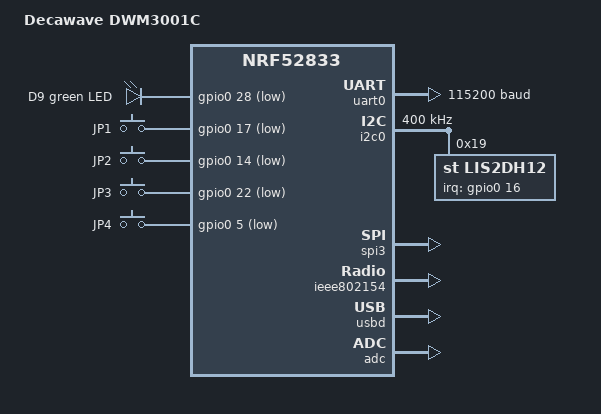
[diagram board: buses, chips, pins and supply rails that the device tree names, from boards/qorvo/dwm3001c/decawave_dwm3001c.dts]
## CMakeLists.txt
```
# SPDX-License-Identifier: Apache-2.0

cmake_minimum_required(VERSION 3.20.0)
find_package(Zephyr REQUIRED HINTS $ENV{ZEPHYR_BASE})
project(test_dwm3001c)

target_sources_ifdef(CONFIG_PDEC_SPI_POLLING app PRIVATE src/pdec_spi_polling.c)

# Replace the hardware/IRQ and SPI platform ports; keep the vendor device driver.
# The radio thread owns ISR dispatch and the contiguous SPI DMA buffers.
set(dw3000_module_dir "${ZEPHYR_ZEPHYR_DW3000_DECADRIVER_MODULE_DIR}")
set_source_files_properties(
    "${dw3000_module_dir}/platform/dw3000_hw.c"
    "${dw3000_module_dir}/platform/dw3000_spi.c"
    DIRECTORY "${dw3000_module_dir}"
    PROPERTIES HEADER_FILE_ONLY TRUE
)

target_sources(app PRIVATE
    src/app_print.c
    src/main.c
    src/pdec_common.c
    src/pdec_radio.c
    src/pdec_dw3000_hw.c
    src/pdec_dw3000_spi.c
    src/pdec_discovery.c
    src/pdec_initiator.c
    src/pdec_database.c
    src/pdec_ranging.c
    src/pdec_range_request.c
    src/pdec_tdoa.c
    src/uart_binary.c
    src/uart_protocol.c
    src/uart_shell.c

    src/ble.c
)
```

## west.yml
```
manifest:
  # lowest version of the manifest file schema that can parse this file’s data
  version: 0.8

  self:
    path: app

  projects:
    - name: zephyr
      revision: v4.3.0
      url: https://github.com/zephyrproject-rtos/zephyr
      import:
        path-prefix: deps
        file: west.yml
        name-allowlist:
          - hal_nordic
          - cmsis_6
          - nrfxlib

    - name: zephyr-dw3000-decadriver
      path: deps/zephyr-dw3000-decadriver
      url: https://github.com/br101/zephyr-dw3000-decadriver.git
      revision: 717751e248d5becf79838910c404b0193e8f88cc
```

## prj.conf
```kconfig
CONFIG_GPIO=y
CONFIG_TIMING_FUNCTIONS=y
CONFIG_DW3000=y
CONFIG_DW3000_CHIP_DW3000=y
CONFIG_SPI=y
CONFIG_GPIO=y
CONFIG_SERIAL=y
CONFIG_UART_INTERRUPT_DRIVEN=y
CONFIG_UART_LINE_CTRL=y

# USB virtual serial port, alongside the physical UART.
CONFIG_USB_DEVICE_STACK_NEXT=y
CONFIG_CDC_ACM_SERIAL_INITIALIZE_AT_BOOT=y
CONFIG_CDC_ACM_SERIAL_PRODUCT_STRING="PDEC serial"
CONFIG_USBD_CDC_ACM_WORKQUEUE=y
CONFIG_SHELL=y
CONFIG_SHELL_AUTOSTART=n
CONFIG_SHELL_BACKEND_SERIAL=n
CONFIG_CONSOLE=n
CONFIG_UART_CONSOLE=n
CONFIG_STDOUT_CONSOLE=n
CONFIG_PRINTK=n
CONFIG_LOG_PRINTK=n
CONFIG_BOOT_BANNER=n

#CONFIG_TEST_RANDOM_GENERATOR=y
CONFIG_ENTROPY_GENERATOR=y
CONFIG_NEWLIB_LIBC=y
CONFIG_SYSTEM_WORKQUEUE_STACK_SIZE=2048
CONFIG_PDEC_PRINT_RANGING=n
CONFIG_CBPRINTF_FP_SUPPORT=y


CONFIG_BT=y
CONFIG_BT_PERIPHERAL=y
CONFIG_BT_DEVICE_NAME="UWB_PP_0000"
CONFIG_BT_DEVICE_APPEARANCE=0
# CONFIG_BT_BROADCASTER=y

# GATT server
CONFIG_BT_GATT_DYNAMIC_DB=y

# Advertising
CONFIG_BT_DEVICE_NAME_DYNAMIC=n

# Optional but recommended
CONFIG_BT_MAX_CONN=4
CONFIG_BT_MAX_PAIRED=2

# Logging
CONFIG_LOG=y
```

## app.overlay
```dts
&spi3 {
    compatible = "pdec,nrf52833-spim3";
    status = "okay";
    dwm3001c@0 {
        compatible = "decawave,dw3000";
        spi-max-frequency = <32000000>;
        reg = <0>;
        irq-gpios     = <&gpio1 2 GPIO_ACTIVE_HIGH>;
        reset-gpios   = <&gpio0 25 GPIO_ACTIVE_LOW>;
    };
};

/* Keep zephyr,console on the physical UART. USB is a second protocol port. */
&zephyr_udc0 {
    status = "okay";
    pdec_usb_uart: pdec_usb_uart {
        compatible = "zephyr,cdc-acm-uart";
    };
};
```

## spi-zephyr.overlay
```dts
/* Optional comparison backend: restore Zephyr's interrupt-driven SPIM driver. */
&spi3 {
    compatible = "nordic,nrf-spim";
};
```

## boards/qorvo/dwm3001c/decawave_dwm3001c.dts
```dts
/*
 * Copyright (c) 2019 Stéphane D'Alu
 *
 * SPDX-License-Identifier: Apache-2.0
 */

/dts-v1/;
#include <nordic/nrf52833_qdaa.dtsi>
#include "decawave_dwm3001c-pinctrl.dtsi"
#include <zephyr/dt-bindings/input/input-event-codes.h>

/ {
	model = "Decawave DWM3001C";
	compatible = "decawave,dwm3001";

	chosen {
		zephyr,console = &uart0;
		zephyr,shell-uart = &uart0;
		zephyr,uart-mcumgr = &uart0;
		zephyr,bt-mon-uart = &uart0;
		zephyr,bt-c2h-uart = &uart0;
		zephyr,sram = &sram0;
		zephyr,flash = &flash0;
		zephyr,code-partition = &slot0_partition;
		zephyr,ieee802154 = &ieee802154;
	};

	leds {
		compatible = "gpio-leds";

		// led from top of board down
		// D20: something related to jlink, red
		// D13: DW3000 tx(red)/rx(green)
		led0: led_0 {
			gpios = <&gpio0 28 GPIO_ACTIVE_LOW>;
			label = "D9 green LED";
		};
	};

	buttons {
		compatible = "gpio-keys";

		// SW1 is connected to P0.18, which by default is nRESET and
		// will reset the board
		jp1: jp_1 {
			gpios = <&gpio0 17 (GPIO_PULL_UP | GPIO_ACTIVE_LOW)>;
			label = "JP1";
			zephyr,code = <INPUT_KEY_1>;
		};
		jp2: jp_2 {
			gpios = <&gpio0 14 (GPIO_PULL_UP | GPIO_ACTIVE_LOW)>;
			label = "JP2";
			zephyr,code = <INPUT_KEY_2>;
		};
		jp3: jp_3 {
			gpios = <&gpio0 22 (GPIO_PULL_UP | GPIO_ACTIVE_LOW)>;
			label = "JP3";
			zephyr,code = <INPUT_KEY_3>;
		};
		jp4: jp_4 {
			gpios = <&gpio0 5 (GPIO_PULL_UP | GPIO_ACTIVE_LOW)>;
			label = "JP4";
			zephyr,code = <INPUT_KEY_4>;
		};
	};

	/* These aliases are provided for compatibility with samples */
	aliases {
		sw1 = &jp1;
		sw2 = &jp2;
		sw3 = &jp3;
		sw4 = &jp4;
		led0 = &led0;
		watchdog0 = &wdt0;
		accel0 = &lis2dh12;
	};
};

&uicr {
	gpio-as-nreset;
};

&gpiote {
	status = "okay";
};

&gpio0 {
	status = "okay";
};

&uart0 {
	status = "okay";
	compatible = "nordic,nrf-uart";
	current-speed = <115200>;
	pinctrl-0 = <&uart0_default>;
	pinctrl-1 = <&uart0_sleep>;
	pinctrl-names = "default", "sleep";
};

&gpio1 {
	status = "okay";
};

&i2c0 {
	compatible = "nordic,nrf-twim";
	status = "okay";
	clock-frequency = <I2C_BITRATE_FAST>;

	pinctrl-0 = <&i2c0_default>;
	pinctrl-1 = <&i2c0_sleep>;
	pinctrl-names = "default", "sleep";

	lis2dh12: lis2dh12@19 {
		compatible = "st,lis2dh12", "st,lis2dh";
		reg = <0x19>;
		irq-gpios = <&gpio0 16 GPIO_ACTIVE_HIGH>;
	};
};

&spi3 {
	compatible = "nordic,nrf-spim";
	status = "okay";
	cs-gpios = <&gpio1 6 GPIO_ACTIVE_LOW>;

	pinctrl-0 = <&spi3_default>;
	pinctrl-1 = <&spi3_sleep>;
	pinctrl-names = "default", "sleep";
};

&ieee802154 {
	status = "okay";
};

&flash0 {
	partitions {
		compatible = "fixed-partitions";
		#address-cells = <1>;
		#size-cells = <1>;

		boot_partition: partition@0 {
			label = "mcuboot";
			reg = <0x00000000 0xc000>;
		};

		slot0_partition: partition@c000 {
			label = "image-0";
			reg = <0x0000c000 0x38000>;
		};

		slot1_partition: partition@44000 {
			label = "image-1";
			reg = <0x00044000 0x36000>;
		};

		storage_partition: partition@7a000 {
			label = "storage";
			reg = <0x0007a000 0x00006000>;
		};
	};
};

zephyr_udc0: &usbd {
	compatible = "nordic,nrf-usbd";
	status = "okay";
};

&reg1 {
	regulator-initial-mode = <NRF5X_REG_MODE_DCDC>;
};

&adc {
	status = "okay";
};
```

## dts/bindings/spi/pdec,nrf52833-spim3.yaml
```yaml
description: Radio-owned nRF52833 SPIM3 with polling EasyDMA completion
compatible: "pdec,nrf52833-spim3"
include: [spi-controller.yaml, pinctrl-device.yaml]
properties:
  reg:
    required: true
  pinctrl-0:
    required: true
  pinctrl-names:
    required: true
  max-frequency:
    type: int
    default: 32000000
  easydma-maxcnt-bits:
    type: int
    default: 16
  overrun-character:
    type: int
    default: 255
  rx-delay-supported:
    type: boolean
  rx-delay:
    type: int
    default: 2
```

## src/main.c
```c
/*
 * Copyright (c) 2016 Intel Corporation
 *
 * SPDX-License-Identifier: Apache-2.0
 */

#include <stdio.h>
#include <zephyr/kernel.h>
#include <zephyr/drivers/gpio.h>
#include <zephyr/types.h>

#include <deca_device_api.h>
#include <deca_probe_interface.h>
#include <dw3000_hw.h>

#include "pdec_common.h"
#include "pdec_discovery.h"
#include "pdec_initiator.h"
#include "pdec_tdoa.h"

#include "ble.h"
#include "app_print.h"
#include "uart_protocol.h"

/* 1000 msec = 1 sec */
#define SLEEP_TIME_MS   800

/* The devicetree node identifier for the "led0" alias. */
#define LED0_NODE DT_ALIAS(led0)
const struct gpio_dt_spec led = GPIO_DT_SPEC_GET(LED0_NODE, gpios);

#define JP1_NODE DT_ALIAS(sw1)
const struct gpio_dt_spec jp1 = GPIO_DT_SPEC_GET(JP1_NODE, gpios);

#define JP2_NODE DT_ALIAS(sw2)
const struct gpio_dt_spec jp2 = GPIO_DT_SPEC_GET(JP2_NODE, gpios);

#define JP3_NODE DT_ALIAS(sw3)
const struct gpio_dt_spec jp3 = GPIO_DT_SPEC_GET(JP3_NODE, gpios);

#define JP4_NODE DT_ALIAS(sw4)
const struct gpio_dt_spec jp4 = GPIO_DT_SPEC_GET(JP4_NODE, gpios);


#define BLINKER_STACK_SIZE 500
#define BLINKER_PRIORITY 5

extern void blinker(void *, void *, void *) {
	if (!gpio_is_ready_dt(&led)) {
		return;
	}

	int ret = gpio_pin_configure_dt(&led, GPIO_OUTPUT_ACTIVE);
	if (ret < 0) {
		return;
	}

	while (1) {
		gpio_pin_toggle_dt(&led);
		// if (ret < 0) {
		// 	return;
		// }
		uint32_t period = ble_get_blink_period_ms();
		k_msleep(period);
	}
}

K_THREAD_DEFINE(blinker_tid, BLINKER_STACK_SIZE,
			blinker, NULL, NULL, NULL,
			BLINKER_PRIORITY, 0, 0);



int main(void)
{
	int ret = pdecInit(NULL);
	if (ret != 0) {
		return ret;
	}
	pdec_uart_protocol_init();
	// k_msleep(100);
	
	printf("device ID: %x\n", get_my_id());

	gpio_pin_configure_dt(&jp1, GPIO_INPUT);
	gpio_pin_configure_dt(&jp2, GPIO_INPUT);
	gpio_pin_configure_dt(&jp3, GPIO_INPUT);
	gpio_pin_configure_dt(&jp4, GPIO_INPUT);

	int j1 = gpio_pin_get_dt(&jp1);
	int j2 = gpio_pin_get_dt(&jp2);
	if (j1 < 0) {
		j1 = 0;
	}
	if (j2 < 0) {
		j2 = 0;
	}

	tdoa_role_t role = (tdoa_role_t)((j2 << 1) | j1);
	printf("Starts TDOA role: %d\n", role);
	pdecTdoaSetRole(role);
	pdecTdoaStart();

	pdec_discovery_start();

	ble_init();

	
	
    return 0;
}
```

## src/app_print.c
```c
#include <stdbool.h>
#include <stdio.h>

#include <zephyr/kernel.h>
#include <zephyr/shell/shell.h>

#include "uart_protocol.h"
#include "uart_shell.h"
#include "app_print.h"

static int pdec_vprint_common(const char *fmt, va_list args)
{
    char buf[192];
    int len;
    const struct shell *sh;

    len = vsnprintf(buf, sizeof(buf), fmt, args);
    if (len <= 0) {
        return len;
    }

    if (k_is_in_isr()) {
        return len;
    }

    for (enum pdec_serial_port port = 0; port < PDEC_SERIAL_PORT_COUNT; ++port) {
        if (pdec_uart_protocol_get_mode(port) != PDEC_UART_MODE_ASCII) {
            continue;
        }
        sh = pdec_uart_shell_backend_get(port);
        if (sh != NULL && shell_ready(sh)) {
            shell_fprintf_normal(sh, "%s", buf);
        }
    }
    return len;
}

int pdec_vprintf(const char *fmt, va_list args)
{
    va_list copy;
    int ret;

    va_copy(copy, args);
    ret = pdec_vprint_common(fmt, copy);
    va_end(copy);

    return ret;
}

int pdec_printf(const char *fmt, ...)
{
    va_list args;
    int ret;

    va_start(args, fmt);
    ret = pdec_vprint_common(fmt, args);
    va_end(args);

    return ret;
}
```

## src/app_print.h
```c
#pragma once

#include <stdarg.h>

int pdec_printf(const char *fmt, ...);
int pdec_vprintf(const char *fmt, va_list args);

#define printf pdec_printf
```

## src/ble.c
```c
/*
 * ble.c – BLE peripheral with a two-characteristic custom GATT service.
 *
 * Service UUID : 12345678-1234-5678-1234-56789abcdef0
 *
 * Characteristic 1 – Device Info (read-only)
 *   UUID : 12345678-1234-5678-1234-56789abcdef1
 *   Value: a fixed ASCII string, e.g. "nRF5340 v1.0"
 *
 * Characteristic 2 – Blink Period ms (read / write)
 *   UUID : 12345678-1234-5678-1234-56789abcdef2
 *   Value: uint32_t, little-endian (default 500 ms)
 *   A connected central can write a new period; the main loop reads it
 *   via ble_get_blink_period_ms().
 */

#include "ble.h"

#include <zephyr/kernel.h>
#include <zephyr/logging/log.h>
#include <zephyr/bluetooth/bluetooth.h>
#include <zephyr/bluetooth/gap.h>
#include <zephyr/bluetooth/gatt.h>
#include <zephyr/bluetooth/uuid.h>
#include <zephyr/bluetooth/conn.h>

#include <string.h>

#include "app_print.h"

LOG_MODULE_REGISTER(ble, LOG_LEVEL_INF);

/* -------------------------------------------------------------------------
 * UUIDs
 * ---------------------------------------------------------------------- */

/* Service */
#define BT_UUID_CUSTOM_SERVICE_VAL \
    BT_UUID_128_ENCODE(0x12345678, 0x1234, 0x5678, 0x1234, 0x56789abcdef0)

/* Characteristic 1 – Device Info (read-only) */
#define BT_UUID_CHAR_DEV_INFO_VAL \
    BT_UUID_128_ENCODE(0x12345678, 0x1234, 0x5678, 0x1234, 0x56789abcdef1)

/* Characteristic 2 – Blink Period (read/write) */
#define BT_UUID_CHAR_BLINK_PERIOD_VAL \
    BT_UUID_128_ENCODE(0x12345678, 0x1234, 0x5678, 0x1234, 0x56789abcdef2)

static struct bt_uuid_128 uuid_service      = BT_UUID_INIT_128(BT_UUID_CUSTOM_SERVICE_VAL);
static struct bt_uuid_128 uuid_dev_info     = BT_UUID_INIT_128(BT_UUID_CHAR_DEV_INFO_VAL);
static struct bt_uuid_128 uuid_blink_period = BT_UUID_INIT_128(BT_UUID_CHAR_BLINK_PERIOD_VAL);

/* -------------------------------------------------------------------------
 * Characteristic values
 * ---------------------------------------------------------------------- */

/* Char 1 – fixed read-only string */
static const char dev_info_value[] = "DWM3001C beacon";

/* Char 2 – blink period, protected by a mutex so main() can read it safely */
static K_MUTEX_DEFINE(blink_mutex);
static uint32_t blink_period_ms = 500U;   /* default: 500 ms */

/* -------------------------------------------------------------------------
 * GATT read / write callbacks
 * ---------------------------------------------------------------------- */

/* --- Char 1: Device Info read ------------------------------------------ */
static ssize_t read_dev_info(struct bt_conn *conn,
                             const struct bt_gatt_attr *attr,
                             void *buf, uint16_t len, uint16_t offset)
{
    return bt_gatt_attr_read(conn, attr, buf, len, offset,
                             dev_info_value, sizeof(dev_info_value) - 1);
}

/* --- Char 2: Blink Period read ----------------------------------------- */
static ssize_t read_blink_period(struct bt_conn *conn,
                                 const struct bt_gatt_attr *attr,
                                 void *buf, uint16_t len, uint16_t offset)
{
    uint32_t val;

    k_mutex_lock(&blink_mutex, K_FOREVER);
    val = blink_period_ms;
    k_mutex_unlock(&blink_mutex);

	pdec_printf("read blink period: %u\n", val);

    return bt_gatt_attr_read(conn, attr, buf, len, offset,
                             &val, sizeof(val));
}

/* --- Char 2: Blink Period write ---------------------------------------- */
static ssize_t write_blink_period(struct bt_conn *conn,
                                  const struct bt_gatt_attr *attr,
                                  const void *buf, uint16_t len,
                                  uint16_t offset, uint8_t flags)
{
    if (offset != 0) {
        LOG_WRN("write_blink_period: unexpected offset %u", offset);
        return BT_GATT_ERR(BT_ATT_ERR_INVALID_OFFSET);
    }

    if (len != sizeof(uint32_t)) {
        LOG_WRN("write_blink_period: bad length %u (expected %zu)", len, sizeof(uint32_t));
        return BT_GATT_ERR(BT_ATT_ERR_INVALID_ATTRIBUTE_LEN);
    }

    uint32_t new_period;
    memcpy(&new_period, buf, sizeof(new_period));

    if (new_period < 50U || new_period > 60000U) {
        LOG_WRN("write_blink_period: value %u ms out of [50, 60000] range", new_period);
        return BT_GATT_ERR(BT_ATT_ERR_VALUE_NOT_ALLOWED);
    }

    k_mutex_lock(&blink_mutex, K_FOREVER);
    blink_period_ms = new_period;
    k_mutex_unlock(&blink_mutex);

    LOG_INF("Blink period updated to %u ms", new_period);
    return (ssize_t)len;
}

/* -------------------------------------------------------------------------
 * GATT service definition
 * ---------------------------------------------------------------------- */

BT_GATT_SERVICE_DEFINE(custom_svc,
    /* Primary service declaration */
    BT_GATT_PRIMARY_SERVICE(&uuid_service),

    /* --- Characteristic 1: Device Info (read-only) --- */
    BT_GATT_CHARACTERISTIC(&uuid_dev_info.uuid,
                           BT_GATT_CHRC_READ,
                           BT_GATT_PERM_READ,
                           read_dev_info, NULL, NULL),

    /* --- Characteristic 2: Blink Period (read + write) --- */
    BT_GATT_CHARACTERISTIC(&uuid_blink_period.uuid,
                           BT_GATT_CHRC_READ | BT_GATT_CHRC_WRITE,
                           BT_GATT_PERM_READ | BT_GATT_PERM_WRITE,
                           read_blink_period, write_blink_period, NULL),
);

/* -------------------------------------------------------------------------
 * Advertising data
 * ---------------------------------------------------------------------- */

static const struct bt_data ad[] = {
    BT_DATA_BYTES(BT_DATA_FLAGS, (BT_LE_AD_GENERAL | BT_LE_AD_NO_BREDR)),
    BT_DATA(BT_DATA_NAME_COMPLETE, CONFIG_BT_DEVICE_NAME, sizeof(CONFIG_BT_DEVICE_NAME) - 1),
};

/* Scan-response: expose the custom service UUID so scanners can filter on it */
static const struct bt_data sd[] = {
    BT_DATA_BYTES(BT_DATA_UUID128_ALL, BT_UUID_CUSTOM_SERVICE_VAL),
};

/* -------------------------------------------------------------------------
 * Connection callbacks
 * ---------------------------------------------------------------------- */

static void on_connected(struct bt_conn *conn, uint8_t err)
{
    if (err) {
        LOG_ERR("Connection failed (err %u)", err);
        return;
    }
    LOG_INF("Connected");
}

static void on_disconnected(struct bt_conn *conn, uint8_t reason)
{
    LOG_INF("Disconnected (reason %u)", reason);

    /* Restart advertising so a new central can connect */
    int ret = bt_le_adv_start(BT_LE_ADV_CONN_FAST_1, ad, ARRAY_SIZE(ad), sd, ARRAY_SIZE(sd));
    if (ret) {
        LOG_ERR("Failed to restart advertising (err %d)", ret);
    }
}

BT_CONN_CB_DEFINE(conn_callbacks) = {
    .connected    = on_connected,
    .disconnected = on_disconnected,
};

/* -------------------------------------------------------------------------
 * Public API
 * ---------------------------------------------------------------------- */

int ble_init(void)
{
    int err;

    err = bt_enable(NULL);
    if (err) {
        LOG_ERR("bt_enable failed (err %d)", err);
        return err;
    }
    LOG_INF("Bluetooth enabled");

    err = bt_le_adv_start(BT_LE_ADV_CONN_FAST_1, ad, ARRAY_SIZE(ad), sd, ARRAY_SIZE(sd));
    if (err) {
        LOG_ERR("bt_le_adv_start failed (err %d)", err);
        return err;
    }
    LOG_INF("Advertising started as \"%s\"", CONFIG_BT_DEVICE_NAME);

    return 0;
}

uint32_t ble_get_blink_period_ms(void)
{
    uint32_t val;

    k_mutex_lock(&blink_mutex, K_FOREVER);
    val = blink_period_ms;
    k_mutex_unlock(&blink_mutex);

    return val;
}
```

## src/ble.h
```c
#pragma once

#include <inttypes.h>

// int testBLE();
// void print_ble_addr();
// void ble_periph();


/**
 * @brief Initialise Bluetooth, register the GATT service and start advertising.
 *
 * Call once from main() after all drivers are ready.
 *
 * @return 0 on success, negative errno on failure.
 */
int ble_init(void);

/**
 * @brief Read the current LED blink period written by the GATT client.
 *
 * @return Period in milliseconds.
 */
uint32_t ble_get_blink_period_ms(void);
```

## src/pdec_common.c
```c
#include"pdec_common.h"
#include "pdec_database.h"
#include "pdec_discovery.h"
#include "pdec_ranging.h"
#include "pdec_tdoa.h"
#include "pdec_radio.h"

#include <errno.h>
#include <stdio.h>
#include <zephyr/kernel.h>
#include <zephyr/drivers/gpio.h>
#include <zephyr/types.h>
#include <zephyr/random/random.h>

#include <deca_device_api.h>
#include <deca_probe_interface.h>
#include <dw3000_hw.h>
#include <dw3000_spi.h>

#include "app_print.h"

static void handle_com_msg(const com_msg_t *msg, uint16_t rx_frame_len);
static void process_rx_ok(uint16_t frame_len);

/* Called synchronously by dwt_isr(), exclusively in the radio owner thread. */
static void rx_error(const dwt_cb_data_t *data)
{
    ARG_UNUSED(data);
    pdec_radio_rx_error();
}

static void tx_done(const dwt_cb_data_t *data)
{
    ARG_UNUSED(data);
    pdec_radio_tx_done();
}

static void rx_ok(const dwt_cb_data_t *data)
{
    /* A correct CRC does not guarantee a usable RX timestamp. Discard before
     * decoding, clock-offset updates, ranging, or TDOA can consume it.
     * CPER is defensive: STS is currently off in this application.
     */
    if ((data->rx_flags & (DWT_CB_DATA_RX_FLAG_CER | DWT_CB_DATA_RX_FLAG_CPER)) != 0 ||
        (data->status & (DWT_INT_CIAERR_BIT_MASK | DWT_INT_CPERR_BIT_MASK)) != 0) {
        pdec_radio_rx_error();
        return;
    }
    if (pdec_radio_rx_begin()) {
        process_rx_ok(data->datalength);
        pdec_radio_rx_end();
    }
}

static dwt_callbacks_s callbacks = {
    .cbTxDone = tx_done,
    .cbRxOk = rx_ok,
    .cbRxTo = rx_error,
    .cbRxErr = rx_error,
};

dwt_config_t config = {
    5,                /* Channel number. */
    DWT_PLEN_128,     /* Preamble length. Used in TX only. */
    DWT_PAC8,         /* Preamble acquisition chunk size. Used in RX only. */
    9,                /* TX preamble code. Used in TX only. */
    9,                /* RX preamble code. Used in RX only. */
    1,                /* 0 to use standard 8 symbol SFD, 1 to use non-standard 8 symbol, 2 for non-standard 16 symbol SFD and 3 for 4z 8 symbol SDF type */
    DWT_BR_6M8,       /* Data rate. */
    DWT_PHRMODE_STD,  /* PHY header mode. */
    DWT_PHRRATE_STD,  /* PHY header rate. */
    (129 + 8 - 8),    /* SFD timeout (preamble length + 1 + SFD length - PAC size). Used in RX only. */
    DWT_STS_MODE_OFF, /* No STS mode enabled (STS Mode 0). */
    DWT_STS_LEN_64,   /* STS length, see allowed values in Enum dwt_sts_lengths_e */
    DWT_PDOA_M0       /* PDOA mode off */
};

/*
 * TX Power Configuration Settings
 */
/* Values for the PG_DELAY and TX_POWER registers reflect the bandwidth and power of the spectrum at the current
 * temperature. These values can be calibrated prior to taking reference measurements. */
dwt_txconfig_t txconfig_options = {
    .PGdly = 0x34,       // PG delay
    .power = 0xfdfdfdfd, // TX power
    .PGcount = 0x0       //PG count
};


/* Frame sequence number, incremented after each transmission. */
uint8_t frame_seq_nb = 0;

static union ranging_msg_u rx_msg;


extern const struct gpio_dt_spec led;

static void handle_com_msg(const com_msg_t *msg, uint16_t rx_frame_len)
{
    if (rx_frame_len < COM_MSG_SIZE(0)) {
        return;
    }
    uint8_t len = msg->len;
    if (len > PAYLOAD_FRAME_LEN_MAX || rx_frame_len < COM_MSG_SIZE(len)) {
        return;
    }
    publish_com_event(msg->header.src_id, msg->payload, len);
}

static void process_rx_ok(uint16_t frame_len)
{
    /* The driver already read RX_FINFO and validated this callback's length. */
    if (frame_len < sizeof(frame_header_t) + 2 || frame_len > sizeof(rx_msg)) {
        return;
    }

    dwt_readrxdata((uint8_t*)&rx_msg, frame_len, 0);
    frame_header_t* header = (frame_header_t*)&rx_msg;

    // check the type of the frame and the PAN ID.
    if(header->frame_control != FRAME_CONTROL || header->pan_id != MY_PAN_ID) {
        return;
    }

    /* Capture this frame's clock register before any TX/RX state change. The
     * conversion and device-table maintenance can wait until the reply is armed.
     */
    int16_t raw_clock_offset = dwt_readclockoffset();
    switch (header->frame_role) {
    case DF_SS_RANGING_POLL:
    case DF_DS_RANGING_POLL:
        if (frame_len >= sizeof(poll_msg_t)) {
            handle_poll_msg((poll_msg_t *)header, header->frame_role == DF_DS_RANGING_POLL,
                            raw_clock_offset);
            return;
        }
        break;
    case DF_SS_RANGING_RESP:
    case DF_DS_RANGING_RESP:
        if (frame_len >= sizeof(resp_msg_t)) {
            handle_resp_msg((resp_msg_t *)header, header->frame_role == DF_DS_RANGING_RESP,
                            raw_clock_offset);
            return;
        }
        break;
    default:
        break;
    }

    /* Other handlers keep the existing ordering, including passive TDOA which
     * consumes the current clock correction from the device database.
     */
    pdec_database_update_rx(header->src_id, raw_clock_offset);
    switch (header->frame_role) {
    case DF_DS_RANGING_FINAL:
        if (frame_len < sizeof(final_msg_t)) {
            break;
        }
        handle_final_msg((final_msg_t*)header);
        break;
    case DF_TDOA_SYNC:
        if (frame_len < sizeof(sync_msg_t)) {
            break;
        }
        handle_sync_msg((sync_msg_t*)header);
        break;
    case DF_TDOA_BLINK:
        if (frame_len < sizeof(blink_msg_t)) {
            break;
        }
        handle_blink_msg((blink_msg_t*)header);
        break;
    case DF_TDOA_BLINK_REPORT:
        if (frame_len < sizeof(blink_report_msg_t)) {
            break;
        }
        handle_blink_report_msg((blink_report_msg_t*)header);
        //printf("BLINK REPORT\n");
        break;
    case DF_COM_MSG:
        handle_com_msg(&rx_msg.com, frame_len);
        break;
    case DF_DISCOVERY_HELLO:
        if (frame_len < sizeof(discovery_msg_t)) {
            break;
        }
        handle_discovery_msg(&rx_msg.discovery);
        break;
    default:
        break;
    }

}

void send_data_msg(uint16_t dst_id, uint8_t* buffer, uint8_t len) {
    (void)pdec_radio_submit_data(dst_id, buffer, len);
}

void pdec_radio_send_data_now(uint16_t dst_id, uint8_t* buffer, uint8_t len) {
    pdec_radio_assert_owner();
    com_msg_t msg;
    if(len > PAYLOAD_FRAME_LEN_MAX) {
        return;
    }

    msg.header.frame_control = FRAME_CONTROL;
    msg.header.seq_number = frame_seq_nb;
    msg.header.pan_id = MY_PAN_ID;
    msg.header.dst_id = dst_id;
    msg.header.src_id = get_my_id();
    msg.header.frame_role = DF_COM_MSG;
    msg.len = len;
    memcpy(msg.payload, buffer, len);

    if (pdec_radio_transmit(&msg, COM_MSG_SIZE(len), false, false, 0) == 0) {
        frame_seq_nb++;
    }
}

void send_discovery_now(void)
{
    pdec_radio_assert_owner();
    discovery_msg_t msg;

    msg.header.frame_control = FRAME_CONTROL;
    msg.header.seq_number = frame_seq_nb;
    msg.header.pan_id = MY_PAN_ID;
    msg.header.dst_id = BROADCAST_ID;
    msg.header.src_id = get_my_id();
    msg.header.frame_role = DF_DISCOVERY_HELLO;
    msg.protocol_version = 1;
    msg.tdoa_role = (uint8_t)pdecTdoaGetRole();

    if (pdec_radio_transmit(&msg, sizeof(msg), false, false, 0) == 0) {
        frame_seq_nb++;
    }
}


int pdec_radio_hw_init(uint32_t *dev_id)
{
    pdec_radio_assert_owner();

    ranging_init();
    tdoa_init();

    // init DW driver
    int ret = dw3000_hw_init();
    if (ret != 0) {
        return ret;
    }
    dw3000_hw_reset();
    ret = dwt_probe((struct dwt_probe_s *)&dw3000_probe_interf);
    if (ret != DWT_SUCCESS) {
        return ret;
    }
    dwt_setcallbacks(&callbacks);

    k_sleep(K_MSEC(500));


    uint32_t id = dwt_readdevid();
    ret = dwt_check_dev_id();
    if(ret != DWT_SUCCESS) {
        ARG_UNUSED(id);
        return ret;
	}
    
    if(dev_id != NULL) {
        *dev_id = id;
    }

    // Wait for DW IC to be in IDLE_RC
    int64_t idle_deadline = k_uptime_get() + 1000;
    while (!dwt_checkidlerc()) {
        if (k_uptime_get() >= idle_deadline) {
            return -ETIMEDOUT;
        }
        k_msleep(100);
    }

    ret = dwt_initialise(DWT_DW_INIT);
    if (ret != DWT_SUCCESS) {
        return ret;
    }
    dw3000_spi_speed_fast();
    
    ret = dwt_configure(&config);
    if (ret != DWT_SUCCESS) {
        return ret;
    }

    /* RX callbacks consume the sole buffer while the receiver is stopped.
     * Reply TX can therefore be armed without another TRX-off/status cleanup.
     */
    dwt_setdblrxbuffmode(DBL_BUF_STATE_DIS, DBL_BUF_MODE_MAN);
    
    /* Only completion and handled terminal errors. Keep standalone CIAERR
     * masked: the unmodified driver does not handle FINT_STAT_RXTSERR.
     * CIAERR accompanying RXOK is still checked by rx_ok().
     */
    dwt_setinterrupt(
        DWT_INT_TXFRS_BIT_MASK | DWT_INT_RXFCG_BIT_MASK |
        DWT_INT_RXFCE_BIT_MASK | DWT_INT_RXFSL_BIT_MASK | DWT_INT_RXPHE_BIT_MASK |
        DWT_INT_RXFTO_BIT_MASK | DWT_INT_RXSTO_BIT_MASK | DWT_INT_RXPTO_BIT_MASK |
        DWT_INT_ARFE_BIT_MASK,
        0, DWT_ENABLE_INT);


    /* Configure the TX spectrum parameters (power PG delay and PG Count) */
    dwt_configuretxrf(&txconfig_options);

    /* Apply default antenna delay value. See NOTE 2 below. */
    dwt_setrxantennadelay(RX_ANT_DLY);
    dwt_settxantennadelay(TX_ANT_DLY);

    /* Next can enable TX/RX states output on GPIOs 5 and 6 to help debug, and also TX/RX LEDs
     * Note, in real low power applications the LEDs should not be used. */
    dwt_setlnapamode(DWT_LNA_ENABLE | DWT_PA_ENABLE);

    // Enabling LEDs so that for each TX the D1 LED will flash on DW3000 red eval-shield boards.
    dwt_setleds(DWT_LEDS_ENABLE | DWT_LEDS_INIT_BLINK);

    ret = dw3000_hw_init_interrupt();
    if (ret != 0) {
        return ret;
    }



    return ret;
}

uint64_t get_rx_timestamp_u64(void)
{
    pdec_radio_assert_owner();
    uint64_t ts = 0;
    dwt_readrxtimestamp((uint8_t*)&ts, DWT_STS0_M);
    return ts;
}

uint64_t get_tx_timestamp_u64(void)
{
    pdec_radio_assert_owner();
    uint64_t ts = 0;
    // it works because of little-endian
    dwt_readtxtimestamp(((uint8_t*)&ts));
    return ts;
}

uint64_t get_systime_u64(void)
{
    pdec_radio_assert_owner();
    uint64_t ts = 0;
    // it works because of little-endian
    dwt_readsystime(((uint8_t*)&ts));
    return ts;
}

uint16_t get_my_id() {
    return (uint16_t)NRF_FICR->DEVICEID[0];
}

uint32_t wrap32_diff(uint32_t hi, uint32_t lo) {
    if(hi > lo) {
        return hi - lo;
    } else {
        return ((uint64_t)hi + ((uint64_t)1<<32)) - (uint64_t)lo;
    }
}

/**
 * compute 40 bit-timestamp diff
 */
uint64_t timestamp_diff(uint64_t a, uint64_t b) {
    return (a - b) & 0xFFFFFFFFFFULL;
}

int64_t timestamp_diff_signed(uint64_t a, uint64_t b) {
    const uint64_t MASK40 = (1ULL << 40) - 1;
    const uint64_t SIGN40 = 1ULL << 39;

    uint64_t d = (a - b) & MASK40;

    // conversion en signé sur 40 bits
    if (d & SIGN40)
        d |= ~MASK40;

    return (int64_t)d;
}
```

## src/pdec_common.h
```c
#pragma once
#include <stddef.h>
#include <inttypes.h>
#include <stdbool.h>

#define MY_PAN_ID 0xDEAD
#define BROADCAST_ID 0xFFFE

#define PAYLOAD_FRAME_LEN_MAX 113


typedef struct __attribute__((packed)) {
    uint16_t frame_control;
    uint8_t seq_number;
    uint16_t pan_id;
    uint16_t dst_id;
    uint16_t src_id;
    uint8_t  frame_role;
} frame_header_t;


typedef struct __attribute__((packed)) {
    frame_header_t header;
    uint8_t poll_id; // for matching the response with the poll
    uint16_t chk;   // checksum automatically set by DW IC
} poll_msg_t;


typedef struct __attribute__((packed)) {
    frame_header_t header;
    uint8_t poll_id; // follow-up on the poll
    uint32_t poll_rx_ts;
    uint32_t resp_tx_ts;
    uint8_t resp_id; // for matching the final with the response
    uint16_t chk;   // checksum automatically set by DW IC
} resp_msg_t;


typedef struct __attribute__((packed)) {
    frame_header_t header;
    uint8_t resp_id; // follow-up on the response
    uint32_t poll_tx_ts;
    uint32_t poll_rx_ts;
    uint32_t resp_tx_ts;
    uint32_t resp_rx_ts;
    uint32_t final_tx_ts;
    uint16_t chk;   // checksum automatically set by DW IC
} final_msg_t;



typedef struct __attribute__((packed)) {
    frame_header_t header;
    uint64_t sync_ts;   // sync timestamp, in the clock of the master (the sender)
    uint16_t chk;       // checksum automatically set by DW IC
} sync_msg_t;

typedef struct __attribute__((packed)) {
    frame_header_t header;
    uint32_t blink_id;
    uint16_t chk;   // checksum automatically set by DW IC
} blink_msg_t;

typedef struct __attribute__((packed)) {
    frame_header_t header;
    uint32_t blink_id;
    uint64_t blink_rx_ts;   // blink receive timestamp, in the clock of the master
    uint16_t blink_snd_id;  // blink sender id
    uint16_t chk;   // checksum automatically set by DW IC
} blink_report_msg_t;

typedef struct __attribute__((packed)) {
    frame_header_t header;
    uint8_t protocol_version;
    uint8_t tdoa_role;
    uint16_t chk;   // checksum automatically set by DW IC
} discovery_msg_t;

#define COM_MSG_SIZE(len) (len + sizeof(frame_header_t) + 1 + 3)

typedef struct __attribute__((packed)) {
    frame_header_t header;
    // lenght of payload. Don't forget the checksum !
    uint8_t len;
    // 2 extra bytes for the checksum, automatically set by DW IC
    uint8_t payload[PAYLOAD_FRAME_LEN_MAX+2];
} com_msg_t;

union ranging_msg_u
{
    frame_header_t header;
    poll_msg_t poll;
    resp_msg_t resp;
    final_msg_t final;

    sync_msg_t sync;
    blink_msg_t blink;
    blink_report_msg_t blink_report;
    discovery_msg_t discovery;

    com_msg_t com;
};



typedef enum {
    DF_SS_RANGING_POLL =  0xE0,
    DF_SS_RANGING_RESP =  0xE1,
    DF_DS_RANGING_POLL =  0xE2,
    DF_DS_RANGING_RESP =  0xE3,
    DF_DS_RANGING_FINAL = 0xE4,

    DF_TDOA_SYNC = 0xE5,
    DF_TDOA_BLINK = 0xE6,
    DF_TDOA_BLINK_REPORT = 0xE7,
    DF_COM_MSG = 0xE8,
    DF_DISCOVERY_HELLO = 0xE9,
} frame_role_t;


/* Starts the radio owner and waits for hardware initialization. Call once from
 * thread context. Commands submitted before success return -ENODEV.
 */
int pdecInit(uint32_t* dev_id);
/* Hardware timestamp access is reserved for the radio owner thread. */
uint64_t get_rx_timestamp_u64(void);
uint64_t get_tx_timestamp_u64(void);
uint64_t get_systime_u64(void);
uint32_t wrap32_diff(uint32_t hi, uint32_t lo);
uint64_t timestamp_diff(uint64_t hi, uint64_t lo);
int64_t timestamp_diff_signed(uint64_t a, uint64_t b);

uint16_t get_my_id();


void send_data_msg(uint16_t dst_id, uint8_t* buffer, uint8_t len);

int pdec_radio_submit_poll(uint16_t dst_id, bool double_sided);
int pdec_radio_submit_data(uint16_t dst_id, const uint8_t *buffer, uint8_t len);
int pdec_radio_submit_sync(void);
int pdec_radio_submit_discovery(void);

// frame control:
// 2:0    001  data
// 3      0    no security
// 4      0    no pending
// 5      0    no ack
// 6      1    pan id compression  --> no src pan id
// 9:7    000  
// 11:10  10   dest addr mode: 16-bit short address
// 13:12  00   IEEE 802.15.4‑2003
// 15:14  10   src addr mode:  16-bit short address
#define FRAME_CONTROL 0x8841

/* Default antenna delay values for 64 MHz PRF. See NOTE 2 below. */
#define TX_ANT_DLY 16385
#define RX_ANT_DLY 16385



#define SPEED_OF_LIGHT   (299702547)    //in m/s
#define FRAME_LEN_MAX    (127)
#define FRAME_LEN_MAX_EX (1023)

#define RXFLEN_MASK    0x0000007FUL /* Receive Frame Length (0 to 127) */
#define RXFL_MASK_1023 0x000003FFUL /* Receive Frame Length Extension (0 to 1023) */

/* UWB microsecond (uus) to device time unit (dtu, around 15.65 ps) conversion factor.
 * 1 uus = 512 / 499.2 µs and 1 µs = 499.2 * 128 dtu. */
 // F*dt = (499.2MHz*128) * 1e-6s = 63897.6   timestamp increment per microseconds
#define UUS_TO_DWT_TIME 63898
```

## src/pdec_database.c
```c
#include "pdec_database.h"
#include "pdec_common.h"

#include <string.h>

#include <zephyr/kernel.h>

#define NUM_DEVICES_MAX 10
#define DEVICE_TIMEOUT_MS 10000

/* Calculate triangular matrix index: i*N - i*(i+1)/2 + (j-i-1) */
#define GET_TRIANGULAR_INDEX(i, j, N) ((i) * (N) - ((i) * ((i) + 1) / 2) + ((j) - (i) - 1))

// Low 16bits of the nrf52833 device ID: NRF_FICR->DEVICEID[0]
static uint16_t devices[NUM_DEVICES_MAX+1] = {0};
// uint16_t devices[] = {
// 	//0xc550,
// 	//0x0839,
// 	//0xdc12,
//     0x7223,
//     0x9e7a,
//     0x9591,
//     0xcfdc,
//     0x842c,
//     0 // Must end with 0 to detect the end of the array
// };

double distances[(NUM_DEVICES_MAX*(NUM_DEVICES_MAX-1))/2] = {0};


// to store the clock offset of every other agents
float clock_offsets[NUM_DEVICES_MAX+1] = {0};
static uint8_t tdoa_roles[NUM_DEVICES_MAX+1] = {
    [0 ... NUM_DEVICES_MAX] = TDOA_ROLE_UNKNOWN,
};
static int64_t last_seen_ms[NUM_DEVICES_MAX+1] = {0};

static void reset_distances(void)
{
    memset(distances, 0, sizeof(distances));
}

static int get_device_count(void)
{
    int count = 0;

    while (count < NUM_DEVICES_MAX && devices[count] != 0) {
        count++;
    }

    return count;
}

static int find_device_index(uint16_t id)
{
    for(int i=0; i<NUM_DEVICES_MAX; i++) {
        if(devices[i] == id) {
            return i;
        }
    }
    return -1;
}

static void remove_device_at(int index)
{
    if (index < 0 || index >= NUM_DEVICES_MAX) {
        return;
    }

    for (int i = index; i < NUM_DEVICES_MAX - 1; i++) {
        devices[i] = devices[i + 1];
        clock_offsets[i] = clock_offsets[i + 1];
        tdoa_roles[i] = tdoa_roles[i + 1];
        last_seen_ms[i] = last_seen_ms[i + 1];
    }

    devices[NUM_DEVICES_MAX - 1] = 0;
    clock_offsets[NUM_DEVICES_MAX - 1] = 0;
    tdoa_roles[NUM_DEVICES_MAX - 1] = TDOA_ROLE_UNKNOWN;
    last_seen_ms[NUM_DEVICES_MAX - 1] = 0;
    reset_distances();
}

static int insert_device_sorted(uint16_t id)
{
    int count = get_device_count();

    if (count >= NUM_DEVICES_MAX) {
        return -1;
    }

    int insert_index = 0;
    while (insert_index < count && devices[insert_index] < id) {
        insert_index++;
    }

    for (int i = count; i > insert_index; i--) {
        devices[i] = devices[i - 1];
        clock_offsets[i] = clock_offsets[i - 1];
        tdoa_roles[i] = tdoa_roles[i - 1];
        last_seen_ms[i] = last_seen_ms[i - 1];
    }

    devices[insert_index] = id;
    clock_offsets[insert_index] = 0;
    tdoa_roles[insert_index] = TDOA_ROLE_UNKNOWN;
    last_seen_ms[insert_index] = k_uptime_get();
    reset_distances();

    return insert_index;
}

static void ensure_self_device(void)
{
    if (find_device_index(get_my_id()) == -1) {
        (void)insert_device_sorted(get_my_id());
    }
}

static void prune_stale_devices(void)
{
    int64_t now = k_uptime_get();

    ensure_self_device();

    for (int i = 0; i < NUM_DEVICES_MAX && devices[i] != 0; ) {
        if (devices[i] != get_my_id() &&
            last_seen_ms[i] != 0 &&
            (now - last_seen_ms[i]) > DEVICE_TIMEOUT_MS) {
            remove_device_at(i);
            continue;
        }

        i++;
    }
}

int get_device_index(uint16_t id) {
    prune_stale_devices();
    return find_device_index(id);
}

uint16_t get_device_id(int index) {
    prune_stale_devices();

    if (index >= 0 && index < NUM_DEVICES_MAX) {
        return devices[index];
    }
    return 0;
}


/**
 * @brief Add a device ID to the global devices list.
 * 
 * @param id The 16-bit short address of the device.
 * @return The index where the device was added, or -1 if the list is full.
 */
int add_device(uint16_t id) {
    ensure_self_device();

    int existing_index = get_device_index(id);
    if (existing_index != -1) {
        last_seen_ms[existing_index] = k_uptime_get();
        return existing_index;
    }

    return insert_device_sorted(id);
}

void touch_device(uint16_t id)
{
    int index = get_device_index(id);
    if (index == -1) {
        index = add_device(id);
    }

    if (index != -1) {
        last_seen_ms[index] = k_uptime_get();
    }
}

void pdec_database_update_rx(uint16_t id, int16_t raw_clock_offset)
{
    touch_device(id);
    set_clock_offset(id, (float)raw_clock_offset / (uint32_t)(1U << 26));
}

void set_device_tdoa_role(uint16_t id, uint8_t role)
{
    int index = get_device_index(id);
    if (index == -1) {
        index = add_device(id);
    }

    if (index != -1) {
        tdoa_roles[index] = role;
    }
}

uint8_t get_device_tdoa_role(uint16_t id)
{
    int index = get_device_index(id);

    if (index != -1) {
        return tdoa_roles[index];
    }

    return TDOA_ROLE_UNKNOWN;
}


void set_clock_offset(uint16_t id, float clk_offset_ratio) {
    int index = get_device_index(id);
    if (index == -1) {
        index = add_device(id);
    }

    if (index != -1) {
        clock_offsets[index] = clk_offset_ratio;
    }
}

double get_clock_offset(uint16_t id) {
    int index = get_device_index(id);
    if (index != -1) {
        return (1.0 - (double)clock_offsets[index]);
    }

    // not found, return 1
    return 1.0;
}


void set_distance(uint16_t a, uint16_t b, double distance) {
    int idx_a = get_device_index(a);
    int idx_b = get_device_index(b);
    
    if (idx_a == -1) {
        idx_a = add_device(a);
    }
    if (idx_b == -1) {
        idx_b = add_device(b);
    }

    if(idx_a == -1 || idx_b == -1) {
        return;
    }

    int i = (idx_a < idx_b) ? idx_a : idx_b;
    int j = (idx_a < idx_b) ? idx_b : idx_a;

    int index = GET_TRIANGULAR_INDEX(i, j, NUM_DEVICES_MAX);
    distances[index] = distance;
}

double get_distance(uint16_t a, uint16_t b) {
    int idx_a = get_device_index(a);
    int idx_b = get_device_index(b);

    if (idx_a == -1 || idx_b == -1 || idx_a == idx_b) {
        return -1;
    }

    int i = (idx_a < idx_b) ? idx_a : idx_b;
    int j = (idx_a < idx_b) ? idx_b : idx_a;

    int index = GET_TRIANGULAR_INDEX(i, j, NUM_DEVICES_MAX);

    return distances[index];
}

uint8_t get_tdoa_index(uint16_t id) {
    prune_stale_devices();

    int count = 0;

    for (int i = 0; i < NUM_DEVICES_MAX && devices[i] != 0; i++) {
        if (tdoa_roles[i] == TDOA_ROLE_BLINKER ||
            tdoa_roles[i] == TDOA_ROLE_BEACON ||
            tdoa_roles[i] == TDOA_ROLE_MASTER) {
            if (devices[i] == id) {
                return (uint8_t)count;
            }

            count++;
        }
    }

    return 255; // not found
}
```

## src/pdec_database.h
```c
#pragma once
#include <inttypes.h>

typedef enum {
    TDOA_ROLE_NONE,
    TDOA_ROLE_BEACON,
    TDOA_ROLE_BLINKER,
    TDOA_ROLE_MASTER,
    TDOA_ROLE_UNKNOWN = 0xff,
} tdoa_role_t;

/**
 * @brief Find the internal index of a device by its ID.
 * 
 * @param id 16-bit device short address.
 * @return The index in the devices array, or -1 if not found.
 */
int get_device_index(uint16_t id);

/**
 * @brief Get the device ID at a specific internal index.
 * 
 * @param index The internal array index.
 * @return The 16-bit device ID, or 0 if index is out of bounds or empty.
 */
uint16_t get_device_id(int index);

/**
 * @brief Add a device ID to the global devices list.
 *
 * @param id The 16-bit short address of the device.
 * @return The index where the device was added, or -1 if the list is full.
 */
int add_device(uint16_t id);

/**
 * @brief Refresh the last-seen timestamp for a device.
 *
 * @param id 16-bit device short address.
 */
void touch_device(uint16_t id);
/* Capture raw offset in RX; defer bookkeeping/conversion until TX is armed. */
void pdec_database_update_rx(uint16_t id, int16_t raw_clock_offset);

/**
 * @brief Store the advertised TDOA role for a device.
 *
 * @param id 16-bit device short address.
 * @param role TDOA role value.
 */
void set_device_tdoa_role(uint16_t id, uint8_t role);

/**
 * @brief Get the last advertised TDOA role for a device.
 *
 * @param id 16-bit device short address.
 * @return TDOA role value, or TDOA_ROLE_UNKNOWN if unknown.
 */
uint8_t get_device_tdoa_role(uint16_t id);

/**
 * @brief Store the measured clock offset ratio for a specific device.
 *
 * @param id 16-bit device short address.
 * @param clk_offset_ratio The ratio calculated from carrier integrator.
 */
void set_clock_offset(uint16_t id, float clk_offset_ratio);

/**
 * @brief Get the clock correction factor for a device.
 *
 * @param id 16-bit device short address.
 * @return The multiplier for time correction (defaults to 1.0 if unknown).
 */
double get_clock_offset(uint16_t id);

/**
 * @brief Store the distance between two devices in the triangular matrix.
 *
 * @param a First device ID.
 * @param b Second device ID.
 * @param distance Measured distance in meters.
 */
void set_distance(uint16_t a, uint16_t b, double distance);

/**
 * @brief Retrieve the last known distance between two devices.
 *
 * @param a First device ID.
 * @param b Second device ID.
 * @return Distance in meters, or -1 if no data exists.
 */
double get_distance(uint16_t a, uint16_t b);

/**
 * @brief Get a deterministic rank for a device based on sorted IDs.
 *
 * @param id 16-bit device short address.
 * @return The sorted index (0 to N), or 255 if not found.
 */
uint8_t get_tdoa_index(uint16_t id);
```

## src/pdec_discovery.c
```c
#include "pdec_discovery.h"

#include <errno.h>
#include <stdbool.h>

#include <zephyr/kernel.h>
#include <zephyr/sys/atomic.h>

#include "pdec_database.h"

#define DISCOVERY_PROTOCOL_VERSION 1
#define DISCOVERY_INTERVAL_MS 2000
#define DISCOVERY_STACK_SIZE 768
#define DISCOVERY_PRIORITY 5

K_THREAD_STACK_DEFINE(discovery_stack_area, DISCOVERY_STACK_SIZE);
static struct k_thread discovery_thread_data;
static bool discovery_thread_started;
static atomic_t discovery_enabled = ATOMIC_INIT(1);

void pdec_discovery_set_enabled(bool enabled)
{
    atomic_set(&discovery_enabled, enabled);
}

bool pdec_discovery_is_enabled(void)
{
    return atomic_get(&discovery_enabled) != 0;
}

static void discovery_thread(void *p1, void *p2, void *p3)
{
    ARG_UNUSED(p1);
    ARG_UNUSED(p2);
    ARG_UNUSED(p3);

    while (true) {
        (void)pdec_discovery_send_now();
        k_msleep(DISCOVERY_INTERVAL_MS);
    }
}

int pdec_discovery_start(void)
{
    if (discovery_thread_started) {
        return -EALREADY;
    }

    discovery_thread_started = true;
    k_thread_create(&discovery_thread_data, discovery_stack_area,
                    K_THREAD_STACK_SIZEOF(discovery_stack_area),
                    discovery_thread,
                    NULL, NULL, NULL,
                    DISCOVERY_PRIORITY, 0, K_NO_WAIT);

    return 0;
}

int pdec_discovery_send_now(void)
{
    if (!pdec_discovery_is_enabled()) {
        return -EACCES;
    }
    return pdec_radio_submit_discovery();
}

void handle_discovery_msg(discovery_msg_t *msg)
{
    if (msg->protocol_version != DISCOVERY_PROTOCOL_VERSION) {
        return;
    }

    if (msg->header.src_id != get_my_id()) {
        set_device_tdoa_role(msg->header.src_id, msg->tdoa_role);
    }

    return;
}
```

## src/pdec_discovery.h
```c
#pragma once

#include <stdbool.h>

#include "pdec_common.h"

int pdec_discovery_start(void);
int pdec_discovery_send_now(void);
void handle_discovery_msg(discovery_msg_t *msg);

/* Disabling gates both periodic submissions and already queued discoveries.
 * Reception of discovery frames remains enabled. Setting is volatile.
 */
void pdec_discovery_set_enabled(bool enabled);
bool pdec_discovery_is_enabled(void);
```
